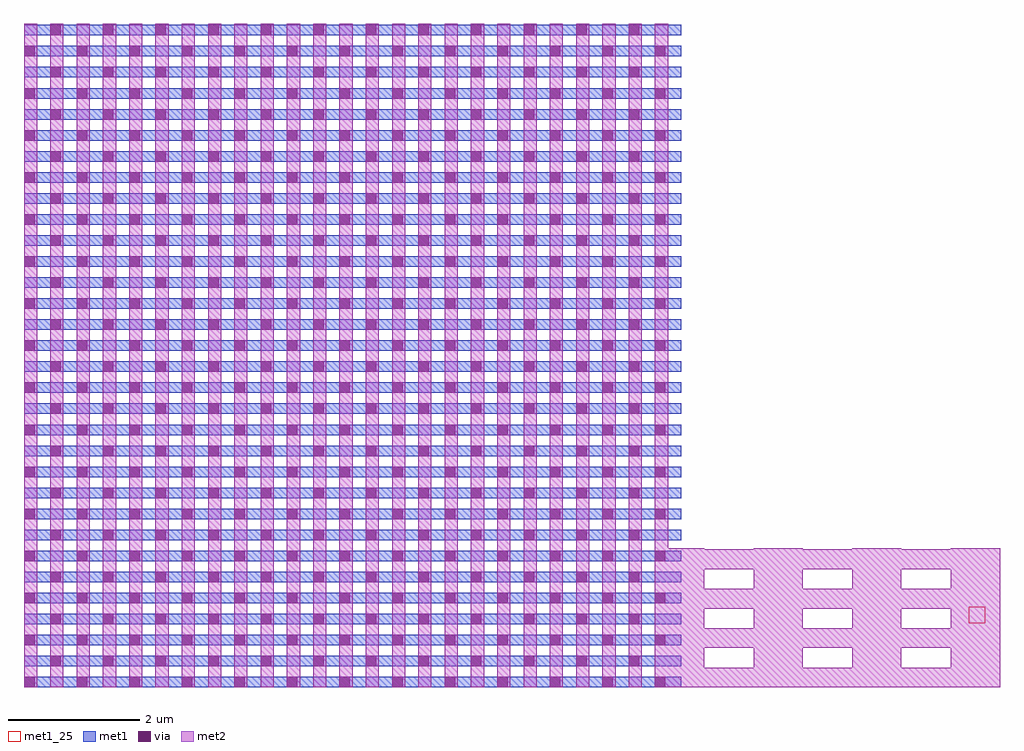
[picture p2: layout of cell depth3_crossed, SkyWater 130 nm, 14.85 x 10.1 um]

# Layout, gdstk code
import gdstk
lib = gdstk.Library(unit=1e-6, precision=1e-09)
def R(c, l, rs):  # rectangles x0, y0, x1, y1
    for r in rs: c.add(gdstk.rectangle(r[:2], r[2:], *l))
def A(c, l, x, y, w, h, nx, ny, dx, dy):  # array of equal rectangles
    R(c, l, [(x+i*dx, y+j*dy, x+i*dx+w, y+j*dy+h) for i in range(nx) for j in range(ny)])
met1 = (68, 20)
met1_25 = (68, 25)
via = (68, 44)
met2 = (69, 20)

depth3_crossed = lib.new_cell('depth3_crossed')
A(depth3_crossed, met1, 0, 0, 10, 0.16, 1, 32, 0, 0.32)
R(depth3_crossed, met1_25, [(14.375,0.975,14.625,1.225)])
A(depth3_crossed, via, 0, 0, 0.16, 0.16, 13, 16, 0.8, 0.64)
A(depth3_crossed, via, 0.4, 0.32, 0.16, 0.16, 12, 16, 0.8, 0.64)
A(depth3_crossed, met2, 0, 0, 0.2, 10.1, 25, 1, 0.4, 0)
A(depth3_crossed, met2, 9.6, 0, 4.5, 0.3, 1, 4, 0, 0.6)
A(depth3_crossed, met2, 9.6, 0, 0.75, 2.115, 4, 1, 1.5, 0)

lib.write_gds('depth3_crossed.gds')
